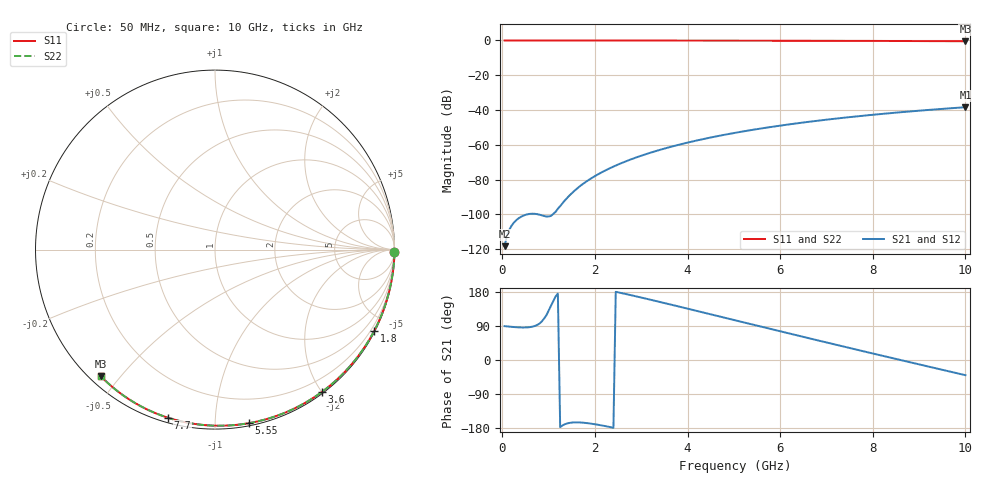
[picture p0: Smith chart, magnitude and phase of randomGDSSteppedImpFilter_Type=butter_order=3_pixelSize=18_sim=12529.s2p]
! freq	dB(S11)	phase(S11)	dB(S12)	phase(S12)
!  dB(S21)	phase(S21)	dB(S22)	phase(S22)
!S-par simulation data
#  GHz  S  DB  R 50
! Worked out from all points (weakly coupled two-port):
!   200 points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, 50 MHz to 10 GHz, reference 50 ohm
!   highest |S21| = -38.39 dB at 10 GHz (marker M1); lowest = -118.3 dB at 50 MHz (marker M2)
!   lowest |S11| = -0.4 dB at 10 GHz (marker M3), VSWR 38.89, Z = 1.54 - j22.2 ohm
!   |S11| at or under -10 dB: nowhere
!   |S22| runs from -0.4 to 0.0 dB; largest |S21 - S12| = 0
!   S11 on the Smith chart (normalised r, x): 50 MHz: open; 1.8 GHz: 0.04, -4.15; 3.6 GHz: 0.02, -2.01; 5.55 GHz: 0.02, -1.21; 7.7 GHz: 0.02, -0.76; 10 GHz: 0.03, -0.44
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0.05  -0.00 -0.8  -118.26 89.4  -118.26 89.4  -0.00 -0.8
0.9  -0.02 -13.7  -100.94 108.9  -100.94 108.9  -0.02 -13.7
1.75  -0.03 -26.3  -82.31 -165.5  -82.31 -165.5  -0.03 -26.3
1.8  -0.03 -27.1  -81.36 -166.1  -81.36 -166.1  -0.03 -27.1
1.85  -0.04 -27.8  -80.47 -166.8  -80.47 -166.8  -0.04 -27.8
1.9  -0.04 -28.6  -79.60 -167.7  -79.60 -167.7  -0.04 -28.6
2.05  -0.04 -30.8  -77.21 -170.5  -77.21 -170.5  -0.04 -30.8
2.25  -0.04 -33.7  -74.39 -175.1  -74.39 -175.1  -0.04 -33.7
2.45  -0.05 -36.6  -71.90 179.9  -71.90 179.9  -0.05 -36.6
2.65  -0.05 -39.5  -69.68 174.6  -69.68 174.6  -0.05 -39.5
3  -0.06 -44.5  -66.26 164.8  -66.26 164.8  -0.06 -44.5
3.4  -0.07 -50.2  -62.92 153.3  -62.92 153.3  -0.07 -50.2
3.6  -0.07 -52.9  -61.42 147.4  -61.42 147.4  -0.07 -52.9
4.3  -0.09 -62.6  -56.91 126.6  -56.91 126.6  -0.09 -62.6
5.05  -0.11 -72.6  -52.99 104.2  -52.99 104.2  -0.11 -72.6
5.55  -0.13 -79.1  -50.76 89.2  -50.76 89.2  -0.13 -79.1
6.1  -0.15 -86.1  -48.59 72.8  -48.59 72.8  -0.15 -86.1
6.7  -0.18 -93.5  -46.49 55.1  -46.49 55.1  -0.18 -93.5
7.7  -0.24 -105.6  -43.51 25.9  -43.51 25.9  -0.24 -105.6
8.35  -0.29 -113.2  -41.85 7.1  -41.85 7.1  -0.29 -113.2
9.15  -0.36 -122.5  -40.05 -15.8  -40.05 -15.8  -0.36 -122.5
10  -0.45 -132.1  -38.39 -40.1  -38.39 -40.1  -0.45 -132.1
